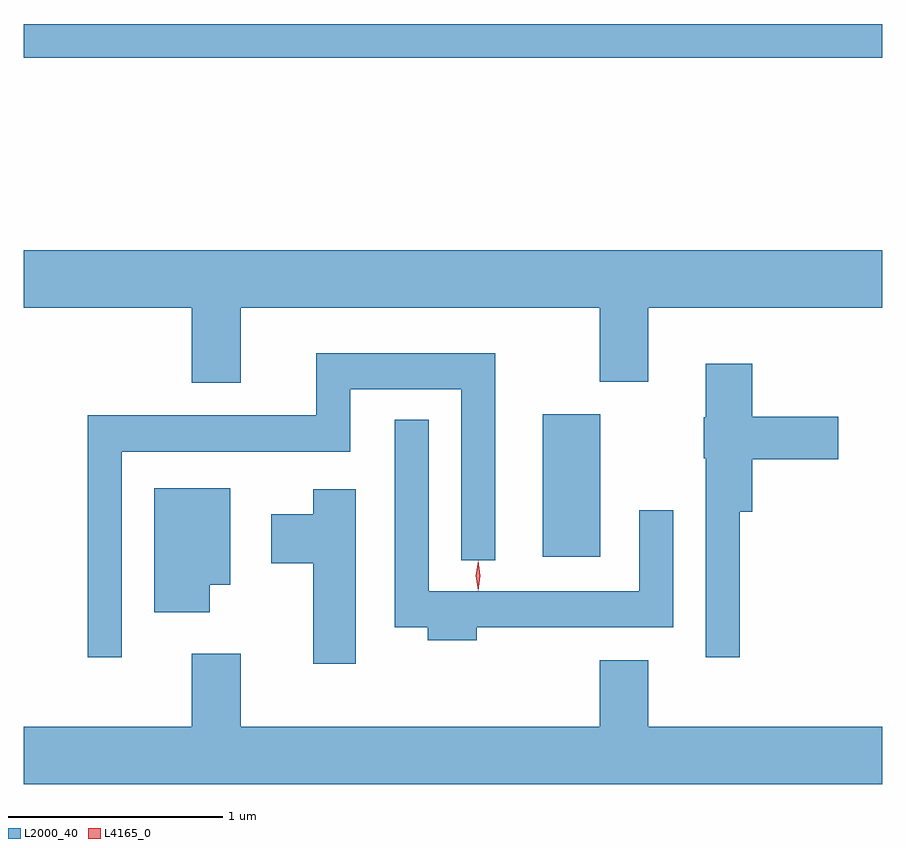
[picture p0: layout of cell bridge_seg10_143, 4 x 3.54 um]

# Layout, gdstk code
import gdstk
lib = gdstk.Library(unit=1e-6, precision=1e-09)
def R(c, l, rs):  # rectangles x0, y0, x1, y1
    for r in rs: c.add(gdstk.rectangle(r[:2], r[2:], *l))
def P(c, l, *ps):  # polygons
    for p in ps: c.add(gdstk.Polygon(p, *l))
L2000_40 = (2000, 40)
L4165_0 = (4165, 0)

bridge_seg10_143 = lib.new_cell('bridge_seg10_143')
R(bridge_seg10_143, L2000_40, [(1688.966,2099.436,1689.234,2100.099), (1686.548,2101.761,1690.548,2101.919)])
P(bridge_seg10_143, L2000_40, [(1687.559,2100.596),(1689.231,2100.596),(1689.231,2100.251),(1689.459,2100.251),(1689.459,2100.596),(1690.548,2100.596),(1690.548,2100.864),(1686.548,2100.864),(1686.548,2100.596),(1687.331,2100.596),(1687.331,2100.246),(1687.559,2100.246)],
  [(1687.004,2099.926),(1688.069,2099.926),(1688.069,2100.216),(1688.586,2100.216),(1688.586,2099.418),(1688.744,2099.418),(1688.744,2100.384),(1687.911,2100.384),(1687.911,2100.094),(1686.846,2100.094),(1686.846,2098.968),(1687.004,2098.968)],
  [(1689.884,2099.646),(1689.944,2099.646),(1689.944,2099.891),(1690.344,2099.891),(1690.344,2100.089),(1689.944,2100.089),(1689.944,2100.334),(1689.726,2100.334),(1689.726,2100.085),(1689.716,2100.085),(1689.716,2099.895),(1689.726,2099.895),(1689.726,2098.968),(1689.884,2098.968)],
  [(1688.659,2099.106),(1689.574,2099.106),(1689.574,2099.653),(1689.416,2099.653),(1689.416,2099.274),(1688.434,2099.274),(1688.434,2100.073),(1688.276,2100.073),(1688.276,2099.106),(1688.431,2099.106),(1688.431,2099.046),(1688.659,2099.046)],
  [(1687.414,2099.306),(1687.509,2099.306),(1687.509,2099.754),(1687.156,2099.754),(1687.156,2099.176),(1687.414,2099.176)],
  [(1688.094,2099.749),(1687.896,2099.749),(1687.896,2099.634),(1687.701,2099.634),(1687.701,2099.406),(1687.896,2099.406),(1687.896,2098.936),(1688.094,2098.936)],
  [(1690.548,2098.644),(1689.459,2098.644),(1689.459,2098.954),(1689.231,2098.954),(1689.231,2098.644),(1687.559,2098.644),(1687.559,2098.984),(1687.331,2098.984),(1687.331,2098.644),(1686.548,2098.644),(1686.548,2098.376),(1690.548,2098.376)])
P(bridge_seg10_143, L4165_0, [(1688.665,2099.279),(1688.665,2099.28),(1688.655,2099.346),(1688.665,2099.412),(1688.665,2099.413),(1688.666,2099.412),(1688.675,2099.346),(1688.666,2099.28)],
  [(1688.665,2099.277),(1688.665,2099.278),(1688.655,2099.347),(1688.665,2099.416),(1688.665,2099.416),(1688.666,2099.416),(1688.675,2099.347),(1688.666,2099.278)])

lib.write_gds('bridge_seg10_143.gds')
